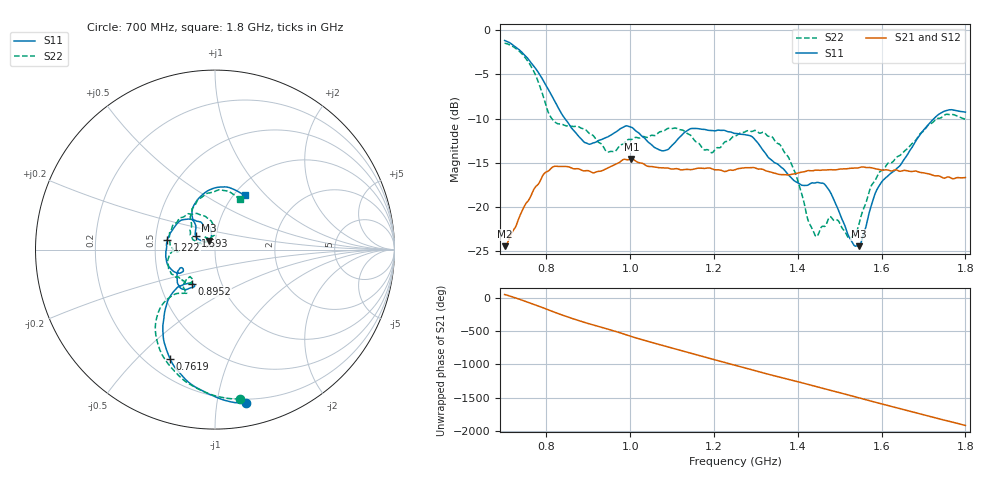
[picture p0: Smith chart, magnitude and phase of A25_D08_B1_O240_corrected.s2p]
! Created with skrf 1.9.0 (http://scikit-rf.org).
# Hz S RI R 50.0
!freq ReS11 ImS11 ReS21 ImS21 ReS12 ImS12 ReS22 ImS22
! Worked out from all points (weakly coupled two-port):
!   1601 points, 700 MHz to 1.8 GHz, reference 50 ohm
!   highest |S21| = -14.57 dB at 1.002 GHz (marker M1); lowest = -24.4 dB at 700 MHz (marker M2)
!   lowest |S11| = -24.4 dB at 1.546 GHz (marker M3), VSWR 1.13, Z = 46.4 + j4.57 ohm
!   |S11| at or under -10 dB: 844 MHz to 1.725 GHz (881 MHz wide, 68.6 % of centre)
!   |S22| runs from -23.5 to -1.5 dB; largest |S21 - S12| = 0.0036
!   S11 on the Smith chart (normalised r, x): 700 MHz: 0.17, -1.21; 761.9 MHz: 0.29, -0.63; 895.2 MHz: 0.72, -0.29; 1.222 GHz: 0.58, +0.07; 1.593 GHz: 0.80, +0.12; 1.8 GHz: 1.12, +0.76
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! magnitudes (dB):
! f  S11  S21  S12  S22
! 700 MHz  -1.2  -24.4  -24.2  -1.5
! 761.9 MHz  -3.6  -18.8  -18.8  -4.0
! 814.1 MHz  -7.5  -15.5  -15.5  -10.1
! 883.6 MHz  -12.3  -15.8  -15.7  -11.1
! 895.2 MHz  -12.8  -15.9  -16.0  -11.3
! 946.8 MHz  -12.1  -15.6  -15.6  -13.8
! 1.002 GHz  -11.0  -14.6  -14.7  -12.4
! 1.067 GHz  -13.5  -15.5  -15.5  -11.6
! 1.144 GHz  -11.1  -15.8  -15.8  -11.9
! 1.193 GHz  -11.3  -15.6  -15.6  -13.8
! 1.222 GHz  -11.3  -15.9  -16.0  -12.8
! 1.25 GHz  -11.7  -15.8  -15.7  -12.0
! 1.358 GHz  -15.4  -16.3  -16.3  -13.0
! 1.393 GHz  -17.1  -16.2  -16.2  -16.0
! 1.434 GHz  -17.3  -15.9  -15.9  -22.4
! 1.47 GHz  -17.8  -15.8  -15.8  -21.7
! 1.524 GHz  -23.5  -15.6  -15.6  -23.5
! 1.546 GHz  -24.4  -15.6  -15.5  -22.0
! 1.593 GHz  -17.7  -15.8  -15.7  -16.2
! 1.617 GHz  -16.4  -15.8  -15.8  -15.0
! 1.733 GHz  -9.7  -16.5  -16.5  -10.0
! 1.8 GHz  -9.3  -16.7  -16.7  -10.1
